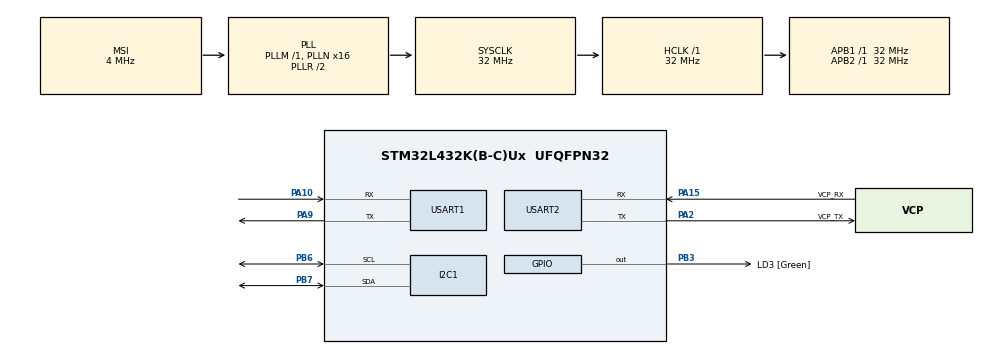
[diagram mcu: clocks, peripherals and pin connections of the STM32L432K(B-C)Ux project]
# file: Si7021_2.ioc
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I2C1.Timing=0x00707CBB
Mcu.Family=STM32L4
Mcu.Name=STM32L432K(B-C)Ux
Mcu.Package=UFQFPN32
NVIC.PriorityGroup=NVIC_PRIORITYGROUP_4
PA0.GPIO_Label=MCO [High speed clock in]
PA0.Mode=HSE-External-Clock-Source-for-LittleOrca
PA0.Signal=RCC_CK_IN
PA10.Mode=Asynchronous
PA10.Signal=USART1_RX
PA13\ (JTMS-SWDIO).GPIO_Label=SWDIO
PA13\ (JTMS-SWDIO).Mode=Serial_Wire
PA13\ (JTMS-SWDIO).Signal=SYS_JTMS-SWDIO
PA14\ (JTCK-SWCLK).GPIO_Label=SWCLK
PA14\ (JTCK-SWCLK).Mode=Serial_Wire
PA14\ (JTCK-SWCLK).Signal=SYS_JTCK-SWCLK
PA15\ (JTDI).GPIO_Label=VCP_RX
PA15\ (JTDI).Mode=Asynchronous
PA15\ (JTDI).Signal=USART2_RX
PA2.GPIO_Label=VCP_TX
PA2.Mode=Asynchronous
PA2.Signal=USART2_TX
PA9.Mode=Asynchronous
PA9.Signal=USART1_TX
PB3\ (JTDO-TRACESWO).GPIO_Label=LD3 [Green]
PB3\ (JTDO-TRACESWO).Signal=GPIO_Output
PB6.GPIO_PuPdOD=GPIO_NOPULL
PB6.Mode=I2C
PB6.Signal=I2C1_SCL
PB7.GPIO_PuPdOD=GPIO_NOPULL
PB7.Mode=I2C
PB7.Signal=I2C1_SDA
PC14-OSC32_IN\ (PC14).Mode=LSE-External-Oscillator
PC14-OSC32_IN\ (PC14).Signal=RCC_OSC32_IN
PC15-OSC32_OUT\ (PC15).Mode=LSE-External-Oscillator
PC15-OSC32_OUT\ (PC15).Signal=RCC_OSC32_OUT
ProjectManager.HeapSize=0x200
ProjectManager.StackSize=0x400
ProjectManager.TargetToolchain=TrueSTUDIO
RCC.AHBFreq_Value=32000000
RCC.APB1Freq_Value=32000000
RCC.APB1TimFreq_Value=32000000
RCC.APB2Freq_Value=32000000
RCC.APB2TimFreq_Value=32000000
RCC.CortexFreq_Value=32000000
RCC.HCLKFreq_Value=32000000
RCC.HSE_VALUE=8000000
RCC.HSI16_VALUE=16000000
RCC.HSI48_VALUE=48000000
RCC.HSI_VALUE=16000000
RCC.MSI_VALUE=4000000
RCC.PLLMUL=RCC_PLLMUL_4
RCC.PLLN=16
RCC.SYSCLKFreq_VALUE=32000000
RCC.SYSCLKSource=RCC_SYSCLKSOURCE_PLLCLK
RCC.VCOOutputFreq_Value=64000000
USART1.VirtualMode-Asynchronous=VM_ASYNC
USART2.VirtualMode-Asynchronous=VM_ASYNC
board=NUCLEO-L432KC

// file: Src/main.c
/**
  ******************************************************************************
  * @file           : main.c
  * @brief          : Main program body
  ******************************************************************************
  ** This notice applies to any and all portions of this file
  * that are not between comment pairs USER CODE BEGIN and
  * USER CODE END. Other portions of this file, whether
  * inserted by the user or by software development tools
  * are owned by their respective copyright owners.
  *
  * COPYRIGHT(c) 2019 STMicroelectronics
  *
  * Redistribution and use in source and binary forms, with or without modification,
  * are permitted provided that the following conditions are met:
  *   1. Redistributions of source code must retain the above copyright notice,
  *      this list of conditions and the following disclaimer.
  *   2. Redistributions in binary form must reproduce the above copyright notice,
  *      this list of conditions and the following disclaimer in the documentation
  *      and/or other materials provided with the distribution.
  *   3. Neither the name of STMicroelectronics nor the names of its contributors
  *      may be used to endorse or promote products derived from this software
  *      without specific prior written permission.
  *
  * THIS SOFTWARE IS PROVIDED BY THE COPYRIGHT HOLDERS AND CONTRIBUTORS "AS IS"
  * AND ANY EXPRESS OR IMPLIED WARRANTIES, INCLUDING, BUT NOT LIMITED TO, THE
  * IMPLIED WARRANTIES OF MERCHANTABILITY AND FITNESS FOR A PARTICULAR PURPOSE ARE
  * DISCLAIMED. IN NO EVENT SHALL THE COPYRIGHT HOLDER OR CONTRIBUTORS BE LIABLE
  * FOR ANY DIRECT, INDIRECT, INCIDENTAL, SPECIAL, EXEMPLARY, OR CONSEQUENTIAL
  * DAMAGES (INCLUDING, BUT NOT LIMITED TO, PROCUREMENT OF SUBSTITUTE GOODS OR
  * SERVICES; LOSS OF USE, DATA, OR PROFITS; OR BUSINESS INTERRUPTION) HOWEVER
  * CAUSED AND ON ANY THEORY OF LIABILITY, WHETHER IN CONTRACT, STRICT LIABILITY,
  * OR TORT (INCLUDING NEGLIGENCE OR OTHERWISE) ARISING IN ANY WAY OUT OF THE USE
  * OF THIS SOFTWARE, EVEN IF ADVISED OF THE POSSIBILITY OF SUCH DAMAGE.
  *
  ******************************************************************************
  */
#include "main.h"
#include "stm32l4xx_hal.h"
#include <string.h>
#include <stdio.h>
#include "si7021.h"

I2C_HandleTypeDef hi2c1;

UART_HandleTypeDef huart1;
UART_HandleTypeDef huart2;

/* USER CODE BEGIN PV */
/* Private variables ---------------------------------------------------------*/
unsigned char temH[] = { 0x7E, 0x00, 0x0C, 0x01, // [0]-Start delimiter; [1 2]-length; [3]-Frame type
		0x01, 0x00, 0x00, 0x00, // [4]-Frame ID; [5 6]-dest. addr; [7]-options
		0x37, 0x00, 0x00, 0x00, // [8 9 10 11]-data
		0x00, 0x00, 0x00, 0x00 }; //[12 13 14]-data; [15]-checksum
unsigned char humH[] = { 0x7E, 0x00, 0x0C, 0x01, // [0]-Start delimiter; [1 2]-length; [3]-Frame type
		0x01, 0x00, 0x00, 0x00, // [4]-Frame ID; [5 6]-dest. addr; [7]-options
		0x36, 0x00, 0x00, 0x00, // [8 9 10 11]-data
		0x00, 0x00, 0x00, 0x00 }; //[12 13 14]-data; [15]-checksum

float temp, humid;
int temp_i, temp_d;
int humid_i, humid_d;
char msg[30] = "";
char data_t[8] = "";
char data_h[8] = "";
char rcv[16]="";
/* USER CODE END PV */

void SystemClock_Config(void);
static void MX_GPIO_Init(void);
static void MX_USART2_UART_Init(void);
static void MX_USART1_UART_Init(void);
static void MX_I2C1_Init(void);

/* USER CODE BEGIN PFP */
/* Private function prototypes -----------------------------------------------*/
void put_xbee(unsigned char data_frame[]);
void dataframeH(char raw_data[], unsigned char data_frame[]); //convert raw data into frame
/* USER CODE END PFP */

int main(void)
{

  /* MCU Configuration----------------------------------------------------------*/

  /* Reset of all peripherals, Initializes the Flash interface and the Systick. */
  HAL_Init();

  /* Configure the system clock */
  SystemClock_Config();

  /* Initialize all configured peripherals */
  MX_GPIO_Init();
  MX_USART2_UART_Init();
  MX_USART1_UART_Init();
  MX_I2C1_Init();

  /* USER CODE BEGIN 2 */

  si7021_init();

  /* USER CODE END 2 */

  /* Infinite loop */
  /* USER CODE BEGIN WHILE */
  while (1)
  {
	  get_si7021(&temp, &humid);

	  gcvt(temp, 5, data_t);
	  dataframeH(data_t, temH);
	  put_xbee(temH);
	  HAL_Delay(1000);

	  gcvt(humid, 5, data_h);
	  dataframeH(data_h, humH);
	  put_xbee(humH);

	  HAL_Delay(1000);
  }/* USER CODE END WHILE */

}// END MAIN

void put_xbee(unsigned char data_frame[]) {

	HAL_UART_Transmit(&huart1, (uint8_t *) data_frame, 16, 100); //send data to XBEE
	HAL_Delay(200);

}

void dataframeH(char data[], unsigned char frame[]) {
	//char data[] = "4+22,50";
	uint8_t i;
	unsigned char sum = 0;
	//converting data into Hex and save to dataframe
	for (i = 0; i < strlen(data); i++)
		frame[9 + i] = data[i];

	//calculating checksum
	for (i = 3; i < 15; i++)
		sum += frame[i];
	frame[15] = 255 ^ sum;

}

void SystemClock_Config(void)
{

  RCC_OscInitTypeDef RCC_OscInitStruct;
  RCC_ClkInitTypeDef RCC_ClkInitStruct;
  RCC_PeriphCLKInitTypeDef PeriphClkInit;

    /**Configure LSE Drive Capability
    */
  HAL_PWR_EnableBkUpAccess();

  __HAL_RCC_LSEDRIVE_CONFIG(RCC_LSEDRIVE_LOW);

    /**Initializes the CPU, AHB and APB busses clocks
    */
  RCC_OscInitStruct.OscillatorType = RCC_OSCILLATORTYPE_LSE|RCC_OSCILLATORTYPE_MSI;
  RCC_OscInitStruct.LSEState = RCC_LSE_ON;
  RCC_OscInitStruct.MSIState = RCC_MSI_ON;
  RCC_OscInitStruct.MSICalibrationValue = 0;
  RCC_OscInitStruct.MSIClockRange = RCC_MSIRANGE_6;
  RCC_OscInitStruct.PLL.PLLState = RCC_PLL_ON;
  RCC_OscInitStruct.PLL.PLLSource = RCC_PLLSOURCE_MSI;
  RCC_OscInitStruct.PLL.PLLM = 1;
  RCC_OscInitStruct.PLL.PLLN = 16;
  RCC_OscInitStruct.PLL.PLLP = RCC_PLLP_DIV7;
  RCC_OscInitStruct.PLL.PLLQ = RCC_PLLQ_DIV2;
  RCC_OscInitStruct.PLL.PLLR = RCC_PLLR_DIV2;
  if (HAL_RCC_OscConfig(&RCC_OscInitStruct) != HAL_OK)
  {
    _Error_Handler(__FILE__, __LINE__);
  }

    /**Initializes the CPU, AHB and APB busses clocks
    */
  RCC_ClkInitStruct.ClockType = RCC_CLOCKTYPE_HCLK|RCC_CLOCKTYPE_SYSCLK
                              |RCC_CLOCKTYPE_PCLK1|RCC_CLOCKTYPE_PCLK2;
  RCC_ClkInitStruct.SYSCLKSource = RCC_SYSCLKSOURCE_PLLCLK;
  RCC_ClkInitStruct.AHBCLKDivider = RCC_SYSCLK_DIV1;
  RCC_ClkInitStruct.APB1CLKDivider = RCC_HCLK_DIV1;
  RCC_ClkInitStruct.APB2CLKDivider = RCC_HCLK_DIV1;

  if (HAL_RCC_ClockConfig(&RCC_ClkInitStruct, FLASH_LATENCY_1) != HAL_OK)
  {
    _Error_Handler(__FILE__, __LINE__);
  }

  PeriphClkInit.PeriphClockSelection = RCC_PERIPHCLK_USART1|RCC_PERIPHCLK_USART2
                              |RCC_PERIPHCLK_I2C1;
  PeriphClkInit.Usart1ClockSelection = RCC_USART1CLKSOURCE_PCLK2;
  PeriphClkInit.Usart2ClockSelection = RCC_USART2CLKSOURCE_PCLK1;
  PeriphClkInit.I2c1ClockSelection = RCC_I2C1CLKSOURCE_PCLK1;
  if (HAL_RCCEx_PeriphCLKConfig(&PeriphClkInit) != HAL_OK)
  {
    _Error_Handler(__FILE__, __LINE__);
  }

    /**Configure the main internal regulator output voltage
    */
  if (HAL_PWREx_ControlVoltageScaling(PWR_REGULATOR_VOLTAGE_SCALE1) != HAL_OK)
  {
    _Error_Handler(__FILE__, __LINE__);
  }

    /**Configure the Systick interrupt time
    */
  HAL_SYSTICK_Config(HAL_RCC_GetHCLKFreq()/1000);

    /**Configure the Systick
    */
  HAL_SYSTICK_CLKSourceConfig(SYSTICK_CLKSOURCE_HCLK);

    /**Enable MSI Auto calibration
    */
  HAL_RCCEx_EnableMSIPLLMode();

  /* SysTick_IRQn interrupt configuration */
  HAL_NVIC_SetPriority(SysTick_IRQn, 0, 0);
}

/* I2C1 init function */
static void MX_I2C1_Init(void)
{

  hi2c1.Instance = I2C1;
  hi2c1.Init.Timing = 0x00707CBB;
  hi2c1.Init.OwnAddress1 = 0;
  hi2c1.Init.AddressingMode = I2C_ADDRESSINGMODE_7BIT;
  hi2c1.Init.DualAddressMode = I2C_DUALADDRESS_DISABLE;
  hi2c1.Init.OwnAddress2 = 0;
  hi2c1.Init.OwnAddress2Masks = I2C_OA2_NOMASK;
  hi2c1.Init.GeneralCallMode = I2C_GENERALCALL_DISABLE;
  hi2c1.Init.NoStretchMode = I2C_NOSTRETCH_DISABLE;
  if (HAL_I2C_Init(&hi2c1) != HAL_OK)
  {
    _Error_Handler(__FILE__, __LINE__);
  }

    /**Configure Analogue filter
    */
  if (HAL_I2CEx_ConfigAnalogFilter(&hi2c1, I2C_ANALOGFILTER_ENABLE) != HAL_OK)
  {
    _Error_Handler(__FILE__, __LINE__);
  }

    /**Configure Digital filter
    */
  if (HAL_I2CEx_ConfigDigitalFilter(&hi2c1, 0) != HAL_OK)
  {
    _Error_Handler(__FILE__, __LINE__);
  }

}

/* USART1 init function */
static void MX_USART1_UART_Init(void)
{

  huart1.Instance = USART1;
  huart1.Init.BaudRate = 9600;
  huart1.Init.WordLength = UART_WORDLENGTH_8B;
  huart1.Init.StopBits = UART_STOPBITS_1;
  huart1.Init.Parity = UART_PARITY_NONE;
  huart1.Init.Mode = UART_MODE_TX_RX;
  huart1.Init.HwFlowCtl = UART_HWCONTROL_NONE;
  huart1.Init.OverSampling = UART_OVERSAMPLING_16;
  huart1.Init.OneBitSampling = UART_ONE_BIT_SAMPLE_DISABLE;
  huart1.AdvancedInit.AdvFeatureInit = UART_ADVFEATURE_NO_INIT;
  if (HAL_UART_Init(&huart1) != HAL_OK)
  {
    _Error_Handler(__FILE__, __LINE__);
  }

}

/* USART2 init function */
static void MX_USART2_UART_Init(void)
{

  huart2.Instance = USART2;
  huart2.Init.BaudRate = 115200;
  huart2.Init.WordLength = UART_WORDLENGTH_8B;
  huart2.Init.StopBits = UART_STOPBITS_1;
  huart2.Init.Parity = UART_PARITY_NONE;
  huart2.Init.Mode = UART_MODE_TX_RX;
  huart2.Init.HwFlowCtl = UART_HWCONTROL_NONE;
  huart2.Init.OverSampling = UART_OVERSAMPLING_16;
  huart2.Init.OneBitSampling = UART_ONE_BIT_SAMPLE_DISABLE;
  huart2.AdvancedInit.AdvFeatureInit = UART_ADVFEATURE_NO_INIT;
  if (HAL_UART_Init(&huart2) != HAL_OK)
  {
    _Error_Handler(__FILE__, __LINE__);
  }

}

/** Configure pins as
        * Analog
        * Input
        * Output
        * EVENT_OUT
        * EXTI
*/
static void MX_GPIO_Init(void)
{

  GPIO_InitTypeDef GPIO_InitStruct;

  /* GPIO Ports Clock Enable */
  __HAL_RCC_GPIOC_CLK_ENABLE();
  __HAL_RCC_GPIOA_CLK_ENABLE();
  __HAL_RCC_GPIOB_CLK_ENABLE();

  /*Configure GPIO pin Output Level */
  HAL_GPIO_WritePin(LD3_GPIO_Port, LD3_Pin, GPIO_PIN_RESET);

  /*Configure GPIO pin : LD3_Pin */
  GPIO_InitStruct.Pin = LD3_Pin;
  GPIO_InitStruct.Mode = GPIO_MODE_OUTPUT_PP;
  GPIO_InitStruct.Pull = GPIO_NOPULL;
  GPIO_InitStruct.Speed = GPIO_SPEED_FREQ_LOW;
  HAL_GPIO_Init(LD3_GPIO_Port, &GPIO_InitStruct);

}

void _Error_Handler(char *file, int line)
{
  while(1)
  {
  }
}

/************************ (C) COPYRIGHT STMicroelectronics *****END OF FILE****/
